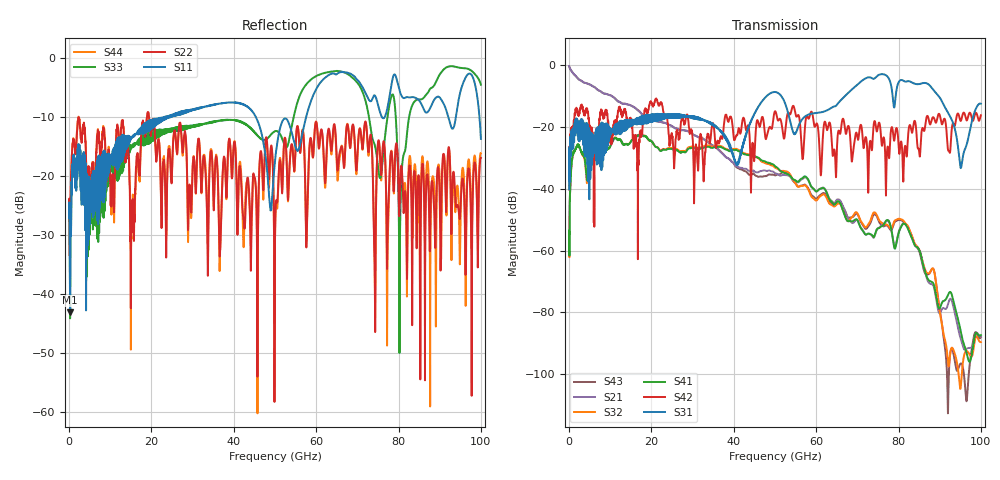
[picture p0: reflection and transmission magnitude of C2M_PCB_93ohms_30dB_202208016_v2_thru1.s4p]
! Info: Touchstone file created by Circ.  Input file=Intel_C2M_200G_13p5in_202208016_staggered.circ
# Hz S RI R 50
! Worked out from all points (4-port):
!   10000 points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, 10 MHz to 100 GHz, reference 50 ohm
!   strongest paths, dB at 10 MHz, 25.01 GHz, 50.01 GHz, 75.01 GHz, 100 GHz:
!     S31: -40.2, -16.8, -8.7, -3.4, -12.5
!     S42: -40.2, -23.2, -15.0, -19.7, -16.3
!     S41: -54.5, -27.2, -32.7, -52.8, -87.3
!     S32: -54.5, -27.0, -33.2, -49.4, -89.6
!     S21: -0.4, -19.8, -34.9, -52.8, -87.8
!     S43: -0.4, -19.7, -35.7, -49.9, -88.0
!   lowest |S11| = -43.1 dB at 260 MHz (marker M1), VSWR 1.01, Z = 50.3 - j0.624 ohm
!   |S11| at or under -10 dB: start of sweep to 23.39 GHz; 45.33 GHz to 57.6 GHz (12.27 GHz wide, 23.8 % of centre); 92.07 GHz to 93.94 GHz (1.87 GHz wide, 2.01 % of centre)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
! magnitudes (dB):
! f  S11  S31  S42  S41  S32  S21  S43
! 10 MHz  -27.1  -40.2  -40.2  -54.5  -54.5  -0.4  -0.4
! 260 MHz  -43.1  -23.3  -22.6  -40.5  -40.4  -1.3  -1.2
! 40.78 GHz  -7.7  -31.8  -22.6  -27.5  -27.2  -32.8  -33.2
! 49.54 GHz  -21.4  -8.8  -18.1  -32.1  -32.6  -34.5  -35.5
! 86.83 GHz  -9.3  -5.9  -16.8  -68.3  -67.1  -68.8  -67.8
! 95.18 GHz  -5.4  -33.2  -18.0  -86.5  -103.1  -88.8  -96.5
! 100 GHz  -13.8  -12.5  -16.3  -87.3  -89.6  -87.8  -88.0
